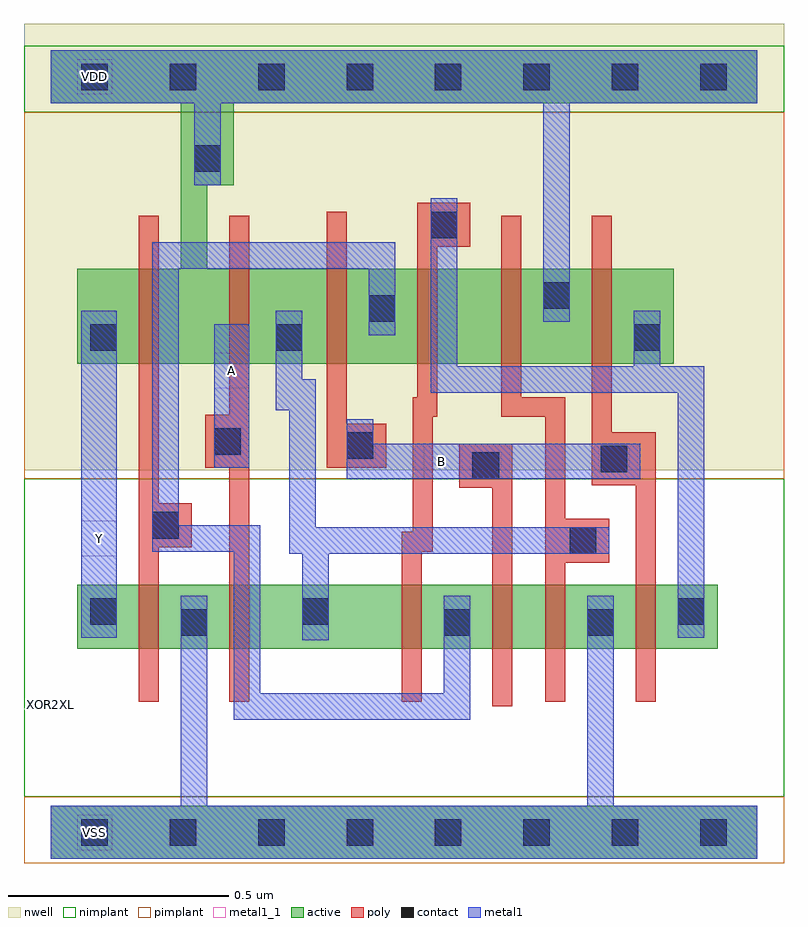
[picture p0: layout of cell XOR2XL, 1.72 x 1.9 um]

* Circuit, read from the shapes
.subckt XOR2XL A B VDD VSS Y
M1 VSS n1 Y VSS nfet w=0.145u l=0.045u
M2 n2 A VSS VSS nfet w=0.145u l=0.045u
M3 n1 n3 n2 VSS nfet w=0.145u l=0.045u
M4 n4 B n1 VSS nfet w=0.145u l=0.045u
M5 VSS n2 n4 VSS nfet w=0.145u l=0.045u
M6 n3 B VSS VSS nfet w=0.145u l=0.045u
M7 VDD n1 Y VDD pfet w=0.215u l=0.045u
M8 n2 A VDD VDD pfet w=0.215u l=0.045u
M9 n1 B n2 VDD pfet w=0.215u l=0.045u
M10 n5 n3 n1 VDD pfet w=0.215u l=0.045u
M11 VDD n2 n5 VDD pfet w=0.215u l=0.045u
M12 n3 B VDD VDD pfet w=0.215u l=0.045u
.ends

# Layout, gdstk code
import gdstk
lib = gdstk.Library(unit=1e-6, precision=5e-10)
def R(c, l, rs):  # rectangles x0, y0, x1, y1
    for r in rs: c.add(gdstk.rectangle(r[:2], r[2:], *l))
def A(c, l, x, y, w, h, nx, ny, dx, dy):  # array of equal rectangles
    R(c, l, [(x+i*dx, y+j*dy, x+i*dx+w, y+j*dy+h) for i in range(nx) for j in range(ny)])
def P(c, l, *ps):  # polygons
    for p in ps: c.add(gdstk.Polygon(p, *l))
active = (1, 0)
nwell = (2, 0)
poly = (3, 0)
nimplant = (4, 0)
pimplant = (5, 0)
contact = (6, 0)
metal1 = (7, 0)
metal1_1 = (7, 1)

xor2xl = lib.new_cell('XOR2XL')
R(xor2xl, active, [(0,-0.06,1.6,0.06), (0.06,0.415,1.51,0.56)])
P(xor2xl, active, [(1.6,1.77),(0,1.77),(0,1.65),(0.295,1.65),(0.295,1.275),(0.06,1.275),(0.06,1.06),(1.41,1.06),(1.41,1.275),(0.355,1.275),(0.355,1.465),(0.415,1.465),(0.415,1.65),(1.6,1.65)])
R(xor2xl, nwell, [(-0.06,0.82,1.66,1.83)])
P(xor2xl, poly, [(0.2,1.395),(0.245,1.395),(0.245,0.745),(0.32,0.745),(0.32,0.645),(0.245,0.645),(0.245,0.295),(0.2,0.295)],
  [(0.83,1.425),(0.95,1.425),(0.95,1.325),(0.875,1.325),(0.875,0.94),(0.865,0.94),(0.865,0.635),(0.84,0.635),(0.84,0.295),(0.795,0.295),(0.795,0.68),(0.82,0.68),(0.82,0.985),(0.83,0.985)],
  [(0.405,1.395),(0.45,1.395),(0.45,0.295),(0.405,0.295),(0.405,0.825),(0.35,0.825),(0.35,0.945),(0.405,0.945)],
  [(0.625,1.405),(0.67,1.405),(0.67,0.925),(0.76,0.925),(0.76,0.825),(0.625,0.825)],
  [(1.02,1.395),(1.065,1.395),(1.065,0.985),(1.165,0.985),(1.165,0.71),(1.265,0.71),(1.265,0.61),(1.165,0.61),(1.165,0.295),(1.12,0.295),(1.12,0.94),(1.02,0.94)],
  [(1.225,1.395),(1.27,1.395),(1.27,0.905),(1.37,0.905),(1.37,0.295),(1.325,0.295),(1.325,0.785),(1.225,0.785)],
  [(0.925,0.88),(1.045,0.88),(1.045,0.285),(1,0.285),(1,0.78),(0.925,0.78)])
R(xor2xl, nimplant, [(-0.06,0.08,1.66,0.8), (-0.06,1.63,1.66,1.78)])
R(xor2xl, pimplant, [(-0.06,-0.07,1.66,0.08), (-0.06,0.8,1.66,1.63)])
A(xor2xl, contact, 0.07, -0.03, 0.06, 0.06, 8, 2, 0.2, 1.71)
R(xor2xl, contact, [(0.295,0.445,0.355,0.505), (0.89,0.445,0.95,0.505), (1.215,0.445,1.275,0.505), (0.09,0.47,0.15,0.53), (0.57,0.47,0.63,0.53), (1.42,0.47,1.48,0.53), (1.175,0.63,1.235,0.69), (0.23,0.665,0.29,0.725), (0.955,0.8,1.015,0.86), (1.245,0.815,1.305,0.875), (0.67,0.845,0.73,0.905), (0.37,0.855,0.43,0.915), (0.09,1.09,0.15,1.15), (0.51,1.09,0.57,1.15), (1.32,1.09,1.38,1.15), (0.72,1.155,0.78,1.215), (1.115,1.185,1.175,1.245), (0.86,1.345,0.92,1.405), (0.325,1.495,0.385,1.555)])
R(xor2xl, metal1, [(0.07,0.44,0.15,1.18), (0.37,0.825,0.45,1.15)])
P(xor2xl, metal1, [(1.6,0.06),(1.275,0.06),(1.275,0.535),(1.215,0.535),(1.215,0.06),(0.355,0.06),(0.355,0.535),(0.295,0.535),(0.295,0.06),(0,0.06),(0,-0.06),(1.6,-0.06)],
  [(1.6,1.77),(0,1.77),(0,1.65),(0.325,1.65),(0.325,1.465),(0.385,1.465),(0.385,1.65),(1.115,1.65),(1.115,1.155),(1.175,1.155),(1.175,1.65),(1.6,1.65)],
  [(1.48,1.055),(1.38,1.055),(1.38,1.18),(1.32,1.18),(1.32,1.055),(0.92,1.055),(0.92,1.435),(0.86,1.435),(0.86,0.995),(1.42,0.995),(1.42,0.44),(1.48,0.44)],
  [(1.335,0.88),(0.73,0.88),(0.73,0.935),(0.67,0.935),(0.67,0.8),(1.335,0.8)],
  [(1.265,0.69),(0.6,0.69),(0.6,1.025),(0.57,1.025),(0.57,1.18),(0.51,1.18),(0.51,0.955),(0.54,0.955),(0.54,0.63),(0.57,0.63),(0.57,0.435),(0.63,0.435),(0.63,0.63),(1.265,0.63)],
  [(0.95,0.535),(0.89,0.535),(0.89,0.315),(0.475,0.315),(0.475,0.695),(0.29,0.695),(0.29,1.275),(0.72,1.275),(0.72,1.125),(0.78,1.125),(0.78,1.335),(0.23,1.335),(0.23,0.635),(0.415,0.635),(0.415,0.255),(0.95,0.255)])
R(xor2xl, metal1_1, [(0.06,-0.04,0.14,0.04), (0.07,0.625,0.15,0.705), (0.845,0.8,0.925,0.88), (0.37,1.005,0.45,1.085), (0.06,1.67,0.14,1.75)])
xor2xl.add(gdstk.Label('VSS', (0.1,0), layer=7, texttype=1))
xor2xl.add(gdstk.Label('B', (0.885,0.84), layer=7, texttype=1))
xor2xl.add(gdstk.Label('A', (0.41,1.045), layer=7, texttype=1))
xor2xl.add(gdstk.Label('VDD', (0.1,1.71), layer=7, texttype=1))
xor2xl.add(gdstk.Label('Y', (0.11,0.665), layer=7, texttype=1))
xor2xl.add(gdstk.Label('XOR2XL', (0,0.29), layer=63, texttype=0))

lib.write_gds('XOR2XL.gds')
